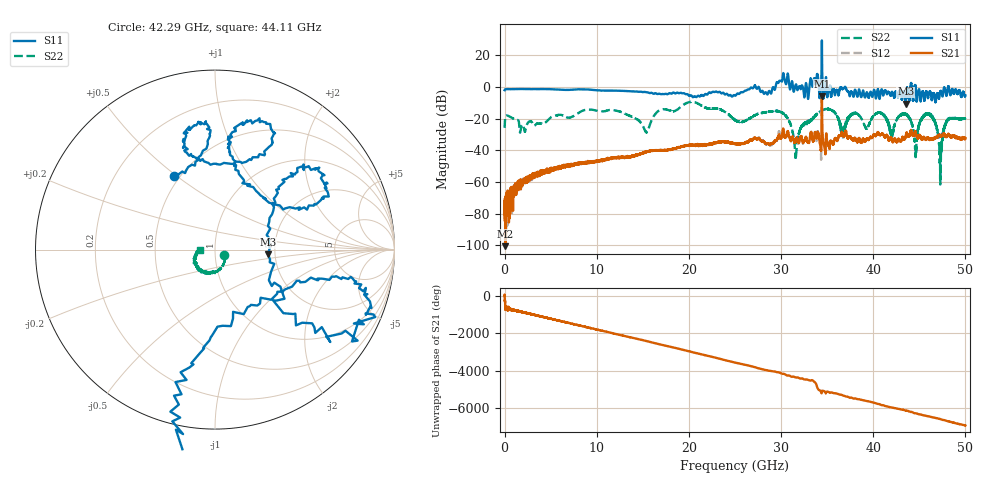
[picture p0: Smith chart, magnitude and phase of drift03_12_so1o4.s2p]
!Created with skrf (http://scikit-rf.org).
# Hz S RI R 50.0
!freq ReS11 ImS11 ReS21 ImS21 ReS12 ImS12 ReS22 ImS22
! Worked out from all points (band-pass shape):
!   10000 points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, 5.3 MHz to 50 GHz, reference 50 ohm
!   highest |S21| = -5.83 dB at 34.43 GHz (marker M1); lowest = -100.5 dB at 100.3 MHz (marker M2)
!   |S21| within 3 dB of the highest: 34.42774 GHz to 34.43471 GHz (6.972 MHz wide, 0.0202 % of centre)
!   lowest |S11| = -10.6 dB at 43.53 GHz (marker M3), VSWR 1.84, Z = 91.7 - j5.29 ohm
!   |S11| at or under -10 dB: 43.50577 GHz to 43.54064 GHz (34.87 MHz wide, 0.0801 % of centre)
!   |S22| runs from -61.6 to -9.4 dB; largest |S21 - S12| = 0.15
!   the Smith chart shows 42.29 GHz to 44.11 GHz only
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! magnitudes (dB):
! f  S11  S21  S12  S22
! 5.3 MHz  -2.1  -72.0  -74.8  -25.8
! 100.3 MHz  -1.5  -100.5  -79.1  -18.7
! 2.68 GHz  -1.4  -58.3  -56.8  -21.8
! 8.34 GHz  -1.5  -48.0  -48.1  -15.4
! 15.38 GHz  -3.4  -41.0  -40.9  -28.6
! 16.67 GHz  -4.4  -40.0  -40.0  -15.3
! 20.45 GHz  -6.5  -36.7  -36.7  -9.5
! 25.01 GHz  -5.5  -35.7  -36.0  -21.0
! 29.96 GHz  3.9  -32.4  -32.3  -15.8
! 31.61 GHz  1.6  -33.5  -33.7  -44.1
! 33.34 GHz  2.4  -30.2  -30.4  -21.0
! 34.43 GHz  29.3  -5.8  -7.7  -14.6
! 36.69 GHz  -1.2  -29.8  -29.9  -28.4
! 37.94 GHz  -4.3  -33.0  -33.1  -16.9
! 41.67 GHz  -3.3  -33.5  -33.3  -22.8
! 43.53 GHz  -10.6  -31.3  -31.0  -17.2
! 44.6 GHz  -0.9  -28.7  -28.9  -42.8
! 45.32 GHz  -3.2  -33.2  -32.9  -19.6
! 46.29 GHz  -5.8  -33.1  -32.7  -18.7
! 47.29 GHz  -3.0  -31.0  -30.9  -57.0
! 48.1 GHz  -0.3  -30.2  -30.4  -20.4
! 50 GHz  -5.3  -32.2  -32.3  -19.6
